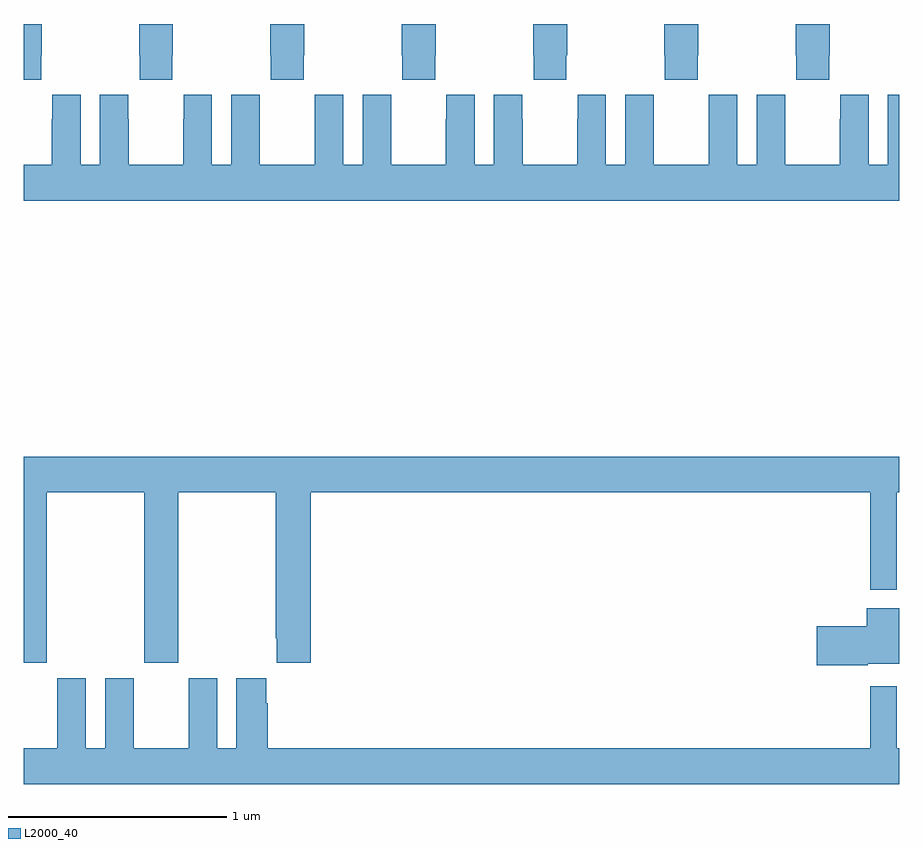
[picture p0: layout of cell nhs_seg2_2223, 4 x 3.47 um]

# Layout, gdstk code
import gdstk
lib = gdstk.Library(unit=1e-6, precision=1e-09)
def P(c, l, *ps):  # polygons
    for p in ps: c.add(gdstk.Polygon(p, *l))
L2000_40 = (2000, 40)

nhs_seg2_2223 = lib.new_cell('nhs_seg2_2223')
P(nhs_seg2_2223, L2000_40, [(228.727,625.657),(228.729,625.657),(228.729,625.545),(228.879,625.545),(228.879,625.657),(228.882,625.657),(228.882,625.8),(228.727,625.8)],
  [(228.279,625.657),(228.282,625.657),(228.282,625.8),(228.127,625.8),(228.127,625.657),(228.129,625.657),(228.129,625.545),(228.279,625.545)],
  [(229.479,625.657),(229.482,625.657),(229.482,625.8),(229.327,625.8),(229.327,625.657),(229.329,625.657),(229.329,625.545),(229.479,625.545)],
  [(230.079,625.657),(230.082,625.657),(230.082,625.8),(229.927,625.8),(229.927,625.657),(229.929,625.657),(229.929,625.545),(230.079,625.545)],
  [(230.679,625.657),(230.682,625.657),(230.682,625.8),(230.527,625.8),(230.527,625.657),(230.529,625.657),(230.529,625.545),(230.679,625.545)],
  [(227.679,625.657),(227.682,625.657),(227.682,625.8),(227.527,625.8),(227.527,625.657),(227.529,625.657),(227.529,625.545),(227.679,625.545)],
  [(227.079,625.657),(227.082,625.657),(227.082,625.8),(227,625.8),(227,625.545),(227.079,625.545)],
  [(231,625.477),(230.948,625.477),(230.948,625.156),(230.86,625.156),(230.86,625.477),(230.73,625.477),(230.73,625.364),(230.729,625.364),(230.729,625.156),(230.479,625.156),(230.479,625.364),(230.478,625.364),(230.478,625.477),(230.348,625.477),(230.348,625.156),(230.26,625.156),(230.26,625.477),(230.13,625.477),(230.13,625.364),(230.129,625.364),(230.129,625.156),(229.879,625.156),(229.879,625.364),(229.878,625.364),(229.878,625.477),(229.748,625.477),(229.748,625.156),(229.66,625.156),(229.66,625.477),(229.53,625.477),(229.53,625.364),(229.529,625.364),(229.529,625.156),(229.279,625.156),(229.279,625.364),(229.278,625.364),(229.278,625.477),(229.148,625.477),(229.148,625.156),(229.06,625.156),(229.06,625.477),(228.93,625.477),(228.93,625.364),(228.929,625.364),(228.929,625.156),(228.679,625.156),(228.679,625.364),(228.678,625.364),(228.678,625.477),(228.548,625.477),(228.548,625.156),(228.46,625.156),(228.46,625.477),(228.33,625.477),(228.33,625.364),(228.329,625.364),(228.329,625.156),(228.079,625.156),(228.079,625.364),(228.078,625.364),(228.078,625.477),(227.948,625.477),(227.948,625.156),(227.86,625.156),(227.86,625.477),(227.73,625.477),(227.73,625.364),(227.729,625.364),(227.729,625.156),(227.479,625.156),(227.479,625.364),(227.478,625.364),(227.478,625.477),(227.348,625.477),(227.348,625.156),(227.26,625.156),(227.26,625.477),(227.13,625.477),(227.13,625.364),(227.129,625.364),(227.129,625.156),(227,625.156),(227,624.992),(231,624.992)],
  [(227.106,623.66),(227.551,623.66),(227.551,622.881),(227.706,622.881),(227.706,623.66),(228.151,623.66),(228.151,622.993),(228.155,622.993),(228.155,622.881),(228.311,622.881),(228.311,623.66),(230.868,623.66),(230.868,623.216),(230.989,623.216),(230.989,623.66),(231,623.66),(231,623.824),(227,623.824),(227,622.881),(227.106,622.881)],
  [(230.856,622.877),(231,622.877),(231,623.131),(230.852,623.131),(230.852,623.048),(230.622,623.048),(230.622,622.87),(230.856,622.87)],
  [(231,622.492),(230.989,622.492),(230.989,622.774),(230.868,622.774),(230.868,622.492),(228.116,622.492),(228.116,622.697),(228.109,622.697),(228.109,622.81),(227.972,622.81),(227.972,622.492),(227.884,622.492),(227.884,622.81),(227.753,622.81),(227.753,622.492),(227.503,622.492),(227.503,622.81),(227.372,622.81),(227.372,622.492),(227.284,622.492),(227.284,622.81),(227.153,622.81),(227.153,622.492),(227,622.492),(227,622.328),(231,622.328)])

lib.write_gds('nhs_seg2_2223.gds')
